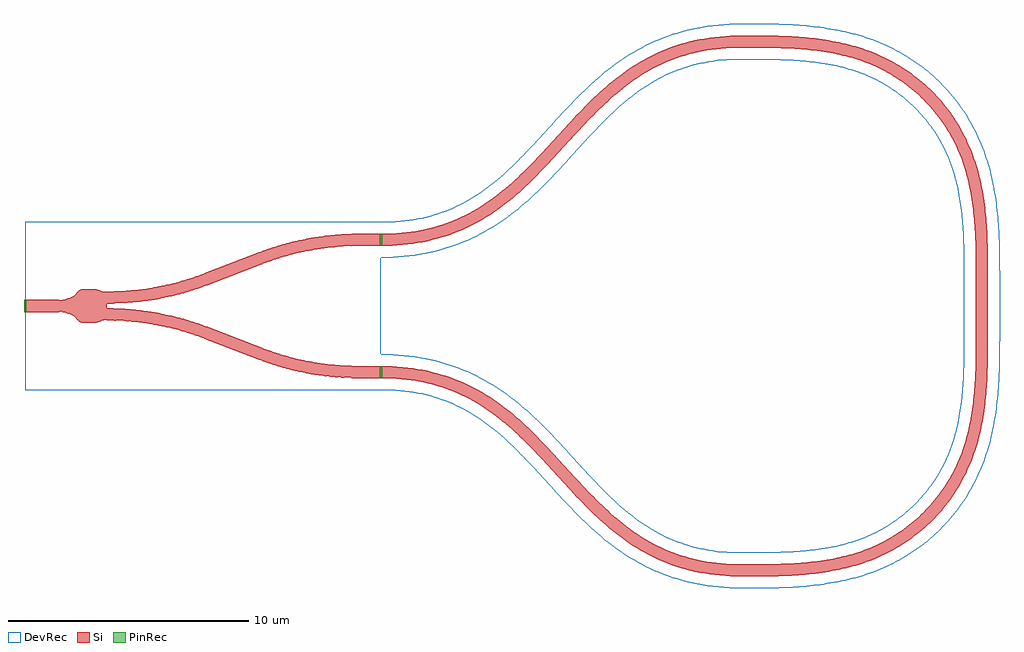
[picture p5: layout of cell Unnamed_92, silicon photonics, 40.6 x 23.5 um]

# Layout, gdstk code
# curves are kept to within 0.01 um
from math import pi, radians
import gdstk
lib = gdstk.Library(unit=1e-6, precision=1e-09)
def R(c, l, rs):  # rectangles x0, y0, x1, y1
    for r in rs: c.add(gdstk.rectangle(r[:2], r[2:], *l))
def P(c, l, *ps):  # polygons
    for p in ps: c.add(gdstk.Polygon(p, *l))
Si = (1, 0)
PinRec = (1, 10)
DevRec = (68, 0)

ebeam_y_1550 = lib.new_cell('ebeam_y_1550')
R(ebeam_y_1550, Si, [(6.5,-3,7.4,-2.5), (-7.4,-0.25,-6,0.25), (6.5,2.5,7.4,3)])
P(ebeam_y_1550, Si, [(6.458,-3),(6.237,-2.997),(6.237,-2.497),(6.5,-2.5),(6.5,-3)],
  [(5.033,-2.908),(4.288,-2.79),(3.59,-2.634),(2.922,-2.442),(2.265,-2.21),(2.445,-1.744),(3.075,-1.966),(3.731,-2.154),(4.372,-2.297),(5.033,-2.404)],
  [(6.233,-2.997),(5.619,-2.967),(5.033,-2.908),(5.033,-2.404),(5.625,-2.466),(6.237,-2.497)],
  [(2.265,-2.21),(0.055,-1.356),(0.235,-0.89),(2.445,-1.744)],
  [(-0.762,-1.076),(-1.532,-0.874),(-2.334,-0.724),(-3.178,-0.63),(-4,-0.6),(-4,-0.1),(-3.16,-0.13),(-2.381,-0.212),(-1.565,-0.355),(-0.762,-0.555)],
  [(0.055,-1.356),(-0.762,-1.076),(-0.762,-0.555),(-0.263,-0.71),(0.235,-0.89)],
  [(6.237,2.497),(6.237,2.997),(6.5,3),(6.5,2.5)],
  [(2.445,1.744),(2.267,2.211),(2.922,2.442),(3.59,2.634),(4.288,2.79),(5.033,2.908),(5.033,2.404),(4.372,2.297),(3.731,2.154),(3.075,1.966)],
  [(5.033,2.404),(5.033,2.908),(5.619,2.967),(6.237,2.997),(6.237,2.497),(5.625,2.466)],
  [(0.235,0.89),(0.055,1.356),(2.265,2.21),(2.445,1.744)],
  [(-4,0.1),(-4,0.6),(-3.178,0.63),(-2.334,0.724),(-1.532,0.874),(-0.762,1.076),(-0.762,0.555),(-1.565,0.355),(-2.381,0.212),(-3.16,0.13)],
  [(-0.762,0.555),(-0.762,1.076),(0.055,1.356),(0.235,0.89),(-0.263,0.71)],
  [(-5.122,-0.662),(-5.344,-0.44),(-5.442,-0.374),(-5.808,-0.255),(-6,-0.25),(-6,0.25),(-5.817,0.253),(-5.442,0.374),(-5.344,0.44),(-5.122,0.662)],
  [(-4.957,-0.703),(-5.047,-0.692),(-5.122,-0.662),(-5.122,0.662),(-4.978,0.702),(-4.538,0.703),(-4.424,0.685),(-4.167,0.6),(-4,0.6),(-4,-0.6),(-4.167,-0.6),(-4.509,-0.701)])
R(ebeam_y_1550, PinRec, [(7.35,-3,7.45,-2.5), (-7.45,-0.25,-7.35,0.25), (7.35,2.5,7.45,3)])
R(ebeam_y_1550, DevRec, [(-7.4,-3.5,7.4,3.5)])
ebeam_y_1550.add(gdstk.Label('Component=ebeam_y_1550', (-6,1.5), layer=68, texttype=0))
ebeam_y_1550.add(gdstk.Label('Lumerical_INTERCONNECT_library=Design kits/ebeam', (-6.86,-2.19), layer=68, texttype=0))
ebeam_y_1550.add(gdstk.Label('opt2', (7.4,2.75), layer=1, texttype=10))
ebeam_y_1550.add(gdstk.Label('opt3', (7.4,-2.75), layer=1, texttype=10))
ebeam_y_1550.add(gdstk.Label('opt1', (-7.4,0), layer=1, texttype=10))
ebeam_y_1550.add(gdstk.Label('Ref: Y Zhang, Opt. Express, 21/1, 2013', (-7.5,-1), layer=10, texttype=0))

bend_s_gdsfactorypcompon = lib.new_cell('bend_s_gdsfactorypcomponentspbendspbend_s_S15_8p25_N99__6745fc87')
P(bend_s_gdsfactorypcompon, Si, [(0,-0.25),(0,0.25),(0.651,0.272),(1.261,0.336),(1.834,0.44),(2.373,0.58),(2.881,0.754),(3.514,1.034),(3.96,1.276),(4.522,1.639),(5.18,2.146),(5.92,2.819),(6.625,3.542),(8.246,5.299),(9.107,6.145),(9.499,6.487),(9.907,6.814),(10.336,7.121),(10.787,7.405),(11.262,7.664),(11.765,7.893),(12.298,8.091),(12.863,8.253),(13.461,8.376),(13.879,8.436),(14.539,8.49),(15,8.5),(15,8),(14.349,7.978),(13.739,7.914),(13.166,7.81),(12.627,7.67),(12.119,7.496),(11.486,7.216),(11.04,6.974),(10.478,6.611),(9.82,6.104),(9.08,5.431),(8.375,4.708),(6.754,2.951),(5.893,2.105),(5.501,1.763),(5.093,1.436),(4.664,1.129),(4.213,0.845),(3.738,0.586),(3.235,0.357),(2.702,0.159),(2.137,-0.003),(1.539,-0.126),(1.121,-0.186),(0.461,-0.24)])
P(bend_s_gdsfactorypcompon, DevRec, [(0,-0.75),(0,0.75),(0.616,0.771),(1.191,0.832),(1.727,0.928),(2.229,1.059),(2.701,1.221),(3.147,1.411),(3.707,1.707),(4.105,1.959),(4.488,2.233),(4.859,2.529),(5.571,3.177),(6.26,3.884),(7.885,5.645),(8.639,6.393),(9.177,6.871),(9.46,7.1),(9.903,7.43),(10.212,7.638),(10.698,7.931),(11.392,8.277),(11.949,8.499),(12.539,8.685),(13.162,8.83),(13.821,8.933),(14.28,8.976),(15,9),(15,7.5),(14.384,7.479),(13.809,7.418),(13.273,7.322),(12.771,7.191),(12.299,7.029),(11.853,6.839),(11.293,6.543),(10.895,6.291),(10.512,6.017),(10.141,5.721),(9.429,5.073),(8.74,4.366),(7.115,2.605),(6.361,1.857),(5.823,1.379),(5.54,1.15),(5.097,0.82),(4.788,0.612),(4.302,0.319),(3.608,-0.027),(3.051,-0.249),(2.461,-0.435),(1.838,-0.58),(1.179,-0.683),(0.72,-0.726)])

c_bend_s_gdsfactorypcompon = lib.new_cell('bend_s_gdsfactorypcomponentspbendspbend_s_S15_m8p25_N99_962e665a')
P(c_bend_s_gdsfactorypcompon, Si, [(15,-8.5),(14.539,-8.49),(13.879,-8.436),(13.461,-8.376),(12.863,-8.253),(12.298,-8.091),(11.765,-7.893),(11.262,-7.664),(10.787,-7.405),(10.336,-7.121),(9.907,-6.814),(9.499,-6.487),(9.107,-6.145),(8.246,-5.299),(6.625,-3.542),(5.92,-2.819),(5.18,-2.146),(4.522,-1.639),(3.96,-1.276),(3.514,-1.034),(2.881,-0.754),(2.373,-0.58),(1.834,-0.44),(1.261,-0.336),(0.651,-0.272),(0,-0.25),(0,0.25),(0.461,0.24),(1.121,0.186),(1.539,0.126),(2.137,0.003),(2.702,-0.159),(3.235,-0.357),(3.738,-0.586),(4.213,-0.845),(4.664,-1.129),(5.093,-1.436),(5.501,-1.763),(5.893,-2.105),(6.754,-2.951),(8.375,-4.708),(9.08,-5.431),(9.82,-6.104),(10.478,-6.611),(11.04,-6.974),(11.486,-7.216),(12.119,-7.496),(12.627,-7.67),(13.166,-7.81),(13.739,-7.914),(14.349,-7.978),(15,-8)])
P(c_bend_s_gdsfactorypcompon, DevRec, [(15,-9),(14.28,-8.976),(13.821,-8.933),(13.162,-8.83),(12.539,-8.685),(11.949,-8.499),(11.392,-8.277),(10.698,-7.931),(10.212,-7.638),(9.903,-7.43),(9.46,-7.1),(9.177,-6.871),(8.639,-6.393),(7.885,-5.645),(6.26,-3.884),(5.571,-3.177),(4.859,-2.529),(4.488,-2.233),(4.105,-1.959),(3.707,-1.707),(3.147,-1.411),(2.701,-1.221),(2.229,-1.059),(1.727,-0.928),(1.191,-0.832),(0.616,-0.771),(0,-0.75),(0,0.75),(0.72,0.726),(1.179,0.683),(1.838,0.58),(2.461,0.435),(3.051,0.249),(3.608,0.027),(4.302,-0.319),(4.788,-0.612),(5.097,-0.82),(5.54,-1.15),(5.823,-1.379),(6.361,-1.857),(7.115,-2.605),(8.74,-4.366),(9.429,-5.073),(10.141,-5.721),(10.512,-6.017),(10.895,-6.291),(11.293,-6.543),(11.853,-6.839),(12.299,-7.029),(12.771,-7.191),(13.273,-7.322),(13.809,-7.418),(14.384,-7.479),(15,-7.5)])

bend_euler_r10_a90_p0p5_ = lib.new_cell('bend_euler_R10_A90_P0p5_W0p5_CSxs_8f7946e8_AMRVFalse')
P(bend_euler_r10_a90_p0p5_, Si, [(0,-0.25),(0,0.25),(1.655,0.269),(2.338,0.305),(2.881,0.353),(3.42,0.424),(3.952,0.52),(4.477,0.647),(4.99,0.806),(5.365,0.949),(5.731,1.113),(6.087,1.299),(6.431,1.505),(6.762,1.731),(7.079,1.976),(7.575,2.425),(8.024,2.921),(8.269,3.238),(8.495,3.569),(8.701,3.913),(8.887,4.269),(9.051,4.635),(9.194,5.01),(9.353,5.523),(9.48,6.048),(9.576,6.58),(9.647,7.119),(9.695,7.662),(9.731,8.345),(9.75,10),(10.25,10),(10.235,8.468),(10.203,7.767),(10.158,7.205),(10.091,6.644),(10.023,6.224),(9.907,5.668),(9.797,5.254),(9.618,4.711),(9.457,4.312),(9.273,3.922),(9.066,3.545),(8.756,3.061),(8.5,2.715),(8.224,2.385),(7.928,2.072),(7.615,1.776),(7.285,1.5),(6.939,1.244),(6.455,0.934),(6.078,0.727),(5.688,0.543),(5.289,0.382),(4.746,0.203),(4.332,0.093),(3.776,-0.023),(3.356,-0.091),(2.795,-0.158),(2.233,-0.203),(1.532,-0.235)])
P(bend_euler_r10_a90_p0p5_, DevRec, [(0,-0.75),(0,0.75),(1.637,0.769),(2.697,0.837),(3.215,0.899),(3.724,0.984),(4.466,1.163),(4.942,1.32),(5.288,1.459),(5.624,1.618),(5.95,1.797),(6.265,1.994),(6.666,2.285),(6.951,2.524),(7.221,2.779),(7.476,3.049),(7.715,3.334),(8.006,3.735),(8.203,4.05),(8.382,4.376),(8.541,4.712),(8.68,5.058),(8.837,5.534),(9.016,6.276),(9.101,6.785),(9.163,7.303),(9.231,8.363),(9.25,10),(10.75,10),(10.735,8.453),(10.711,7.88),(10.656,7.156),(10.586,6.574),(10.488,5.989),(10.393,5.551),(10.277,5.114),(10.087,4.537),(9.915,4.111),(9.718,3.695),(9.497,3.292),(9.167,2.775),(8.893,2.406),(8.597,2.053),(8.282,1.718),(7.947,1.403),(7.594,1.107),(7.225,0.833),(6.708,0.503),(6.305,0.282),(5.889,0.085),(5.463,-0.087),(4.886,-0.277),(4.449,-0.393),(4.011,-0.488),(3.426,-0.586),(2.844,-0.656),(2.12,-0.711),(1.547,-0.735)])

straight_l2_csxs_8f7946e = lib.new_cell('straight_L2_CSxs_8f7946e8_WNone_N2')
R(straight_l2_csxs_8f7946e, Si, [(0,-0.25,2,0.25)])
R(straight_l2_csxs_8f7946e, DevRec, [(0,-0.75,2,0.75)])

unnamed_92 = lib.new_cell('Unnamed_92')
unnamed_92.add(gdstk.Reference(ebeam_y_1550, (0,0)))
unnamed_92.add(gdstk.Reference(bend_s_gdsfactorypcompon, (7.4,2.75)))
unnamed_92.add(gdstk.Reference(c_bend_s_gdsfactorypcompon, (7.4,-2.75)))
unnamed_92.add(gdstk.Reference(bend_euler_r10_a90_p0p5_, (32.4,1), rotation=pi/2))
unnamed_92.add(gdstk.Reference(bend_euler_r10_a90_p0p5_, (22.4,-11)))
unnamed_92.add(gdstk.Reference(straight_l2_csxs_8f7946e, (32.4,1), rotation=3*pi/2))

lib.write_gds('Unnamed_92.gds')
